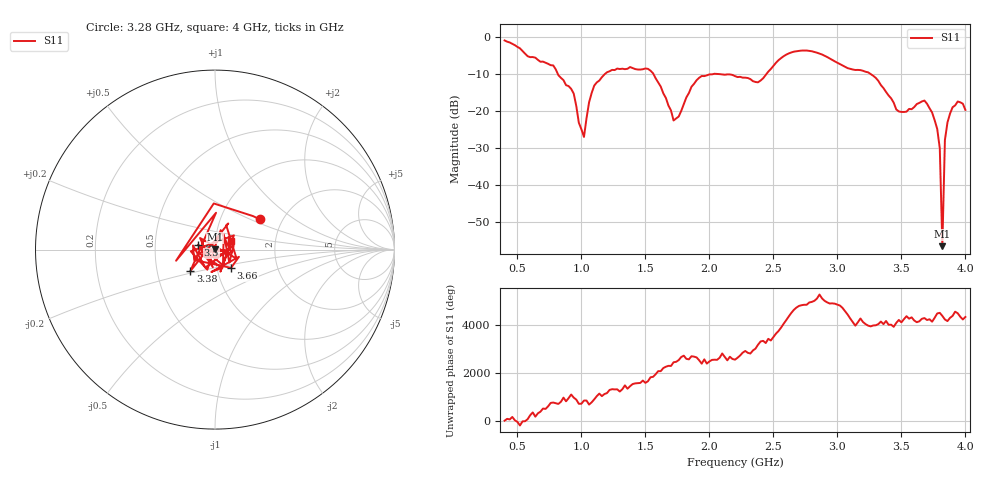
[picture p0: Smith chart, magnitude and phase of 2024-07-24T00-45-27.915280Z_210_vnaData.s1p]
!Created with skrf (http://scikit-rf.org).
# Hz S RI R 50.0
!freq ReS11 ImS11
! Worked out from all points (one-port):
!   181 points, 400 MHz to 4 GHz, reference 50 ohm
!   lowest |S11| = -56.6 dB at 3.82 GHz (marker M1), VSWR 1.00, Z = 50 + j0.141 ohm
!   |S11| at or under -10 dB: 816.9 MHz to 1.181 GHz (364.3 MHz wide, 36.5 % of centre); 1.564 GHz to 2.022 GHz (458 MHz wide, 25.5 % of centre); 3.263 GHz to end of sweep (the widest 3 of 4)
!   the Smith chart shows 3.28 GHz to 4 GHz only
!   S11 on the Smith chart (normalised r, x): 3.28 GHz: 1.54, +0.57; 3.38 GHz: 0.74, -0.18; 3.5 GHz: 0.83, +0.05; 3.66 GHz: 1.17, -0.24; 4 GHz: 1.19, +0.12
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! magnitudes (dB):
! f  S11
! 400 MHz  -0.8
! 780 MHz  -7.6
! 860 MHz  -11.6
! 940 MHz  -15.2
! 1.02 GHz  -27.0
! 1.06 GHz  -17.6
! 1.1 GHz  -13.1
! 1.3 GHz  -8.6
! 1.54 GHz  -9.0
! 1.72 GHz  -22.5
! 1.76 GHz  -21.5
! 1.92 GHz  -10.9
! 2.2 GHz  -10.5
! 2.38 GHz  -12.2
! 2.66 GHz  -3.9
! 3.1 GHz  -8.5
! 3.28 GHz  -10.4
! 3.38 GHz  -14.8
! 3.5 GHz  -20.2
! 3.56 GHz  -19.4
! 3.66 GHz  -17.4
! 3.78 GHz  -24.8
! 3.8 GHz  -30.1
! 3.82 GHz  -56.6
! 3.84 GHz  -27.8
! 3.86 GHz  -23.0
! 3.94 GHz  -17.4
! 4 GHz  -19.7
